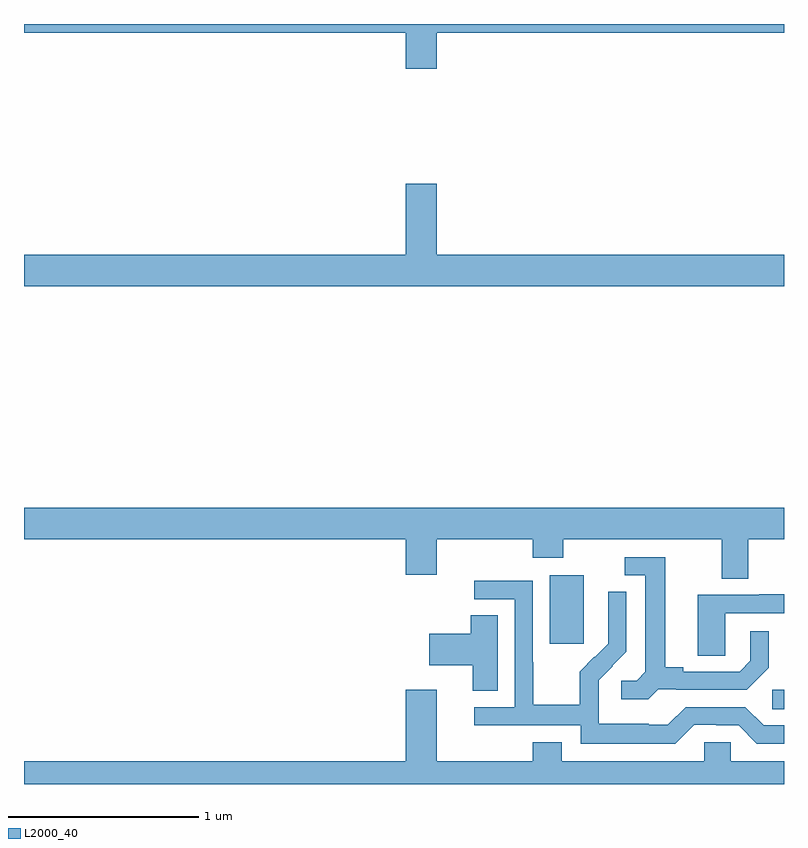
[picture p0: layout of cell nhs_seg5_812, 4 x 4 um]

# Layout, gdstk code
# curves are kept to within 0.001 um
import gdstk
lib = gdstk.Library(unit=1e-6, precision=1e-09)
def R(c, l, rs):  # rectangles x0, y0, x1, y1
    for r in rs: c.add(gdstk.rectangle(r[:2], r[2:], *l))
def P(c, l, *ps):  # polygons
    for p in ps: c.add(gdstk.Polygon(p, *l))
L2000_40 = (2000, 40)

nhs_seg5_812 = lib.new_cell('nhs_seg5_812')
R(nhs_seg5_812, L2000_40, [(166.938,861.193,167,861.294), (165.767,861.537,165.946,861.898)])
P(nhs_seg5_812, L2000_40, [(165.172,864.752),(167,864.752),(167,864.799),(163,864.799),(163,864.752),(165.008,864.752),(165.008,864.564),(165.172,864.564)],
  [(167,863.584),(165.172,863.584),(165.172,863.959),(165.008,863.959),(165.008,863.584),(163,863.584),(163,863.42),(167,863.42)],
  [(166.813,862.088),(167,862.088),(167,862.252),(163,862.252),(163,862.088),(165.008,862.088),(165.008,861.9),(165.172,861.9),(165.172,862.088),(165.677,862.088),(165.677,861.989),(165.837,861.989),(165.837,862.088),(166.673,862.088),(166.673,861.88),(166.813,861.88)],
  [(166.338,861.297),(166.432,861.297),(166.432,861.294),(166.804,861.294),(166.92,861.41),(166.92,861.604),(166.823,861.604),(166.823,861.447),(166.766,861.39),(166.471,861.39),(166.471,861.413),(166.375,861.413),(166.375,861.993),(166.161,861.993),(166.161,861.897),(166.271,861.897),(166.271,861.389),(166.224,861.342),(166.143,861.342),(166.143,861.245),(166.286,861.245)],
  [(166.527,861.111),(166.643,861.111),(166.643,861.108),(166.761,861.108),(166.857,861.012),(167,861.012),(167,861.108),(166.893,861.108),(166.797,861.204),(166.482,861.204),(166.389,861.111),(166.289,861.111),(166.289,861.115),(166.026,861.115),(166.026,861.249),(166.024,861.249),(166.024,861.346),(166.17,861.494),(166.17,861.812),(166.074,861.812),(166.074,861.658),(166.076,861.658),(166.076,861.536),(166.005,861.465),(166.002,861.468),(165.925,861.391),(165.925,861.217),(165.681,861.217),(165.681,861.44),(165.678,861.44),(165.678,861.87),(165.369,861.87),(165.369,861.771),(165.582,861.771),(165.582,861.204),(165.369,861.204),(165.369,861.108),(165.93,861.108),(165.93,861.011),(166.427,861.011)],
  [(166.692,861.699),(167,861.699),(167,861.799),(166.871,861.799),(166.871,861.795),(166.547,861.795),(166.547,861.475),(166.692,861.475)],
  [(165.493,861.686),(165.35,861.686),(165.35,861.591),(165.132,861.591),(165.132,861.425),(165.362,861.425),(165.362,861.289),(165.493,861.289)],
  [(167,860.92),(166.719,860.92),(166.719,861.018),(166.581,861.018),(166.581,860.92),(165.829,860.92),(165.829,861.019),(165.677,861.019),(165.677,860.92),(165.172,860.92),(165.172,861.295),(165.008,861.295),(165.008,860.92),(163,860.92),(163,860.799),(167,860.799)])

lib.write_gds('nhs_seg5_812.gds')
